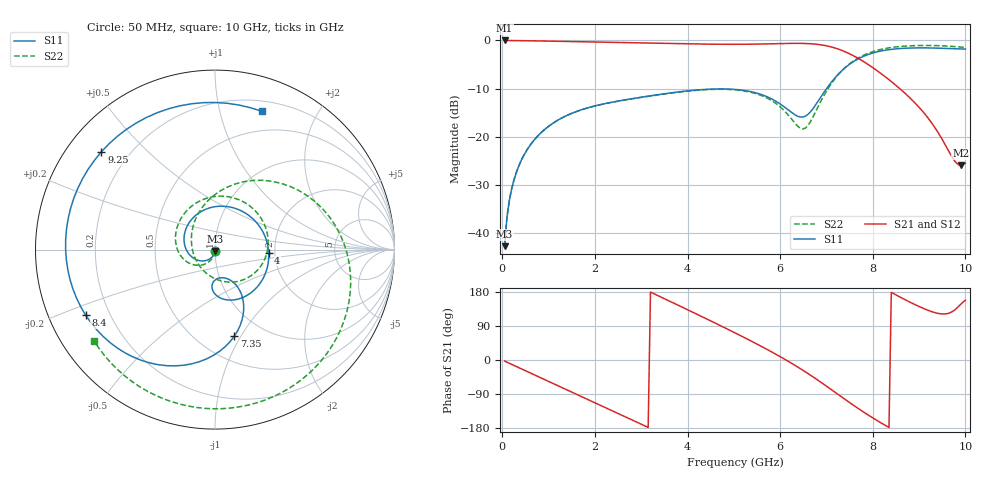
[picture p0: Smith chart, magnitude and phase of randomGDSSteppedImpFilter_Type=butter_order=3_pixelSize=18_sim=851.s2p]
! freq	dB(S11)	phase(S11)	dB(S12)	phase(S12)
!  dB(S21)	phase(S21)	dB(S22)	phase(S22)
!S-par simulation data
#  GHz  S  DB  R 50
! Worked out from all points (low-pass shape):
!   200 points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, 50 MHz to 10 GHz, reference 50 ohm
!   highest |S21| = 0.00 dB at 50 MHz (marker M1); lowest = -25.9 dB at 9.9 GHz (marker M2)
!   |S21| within 3 dB of the highest: start of sweep to 7.548 GHz
!   lowest |S11| = -42.7 dB at 50 MHz (marker M3), VSWR 1.01, Z = 50 - j0.729 ohm
!   |S11| at or under -10 dB: start of sweep to 7.002 GHz
!   |S22| runs from -42.7 to -1.0 dB; largest |S21 - S12| = 0
!   S11 on the Smith chart (normalised r, x): 50 MHz: 1.00, -0.01; 4 GHz: 1.85, -0.07; 7.35 GHz: 0.73, -0.94; 8.4 GHz: 0.11, -0.24; 9.25 GHz: 0.10, +0.37; 10 GHz: 0.30, +1.35
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0.05  -42.72 -93.5  -0.00 -2.9  -0.00 -2.9  -42.71 -92.5
0.2  -30.92 -103.8  -0.02 -11.4  -0.02 -11.4  -30.91 -99.9
0.5  -23.26 -124.1  -0.06 -28.3  -0.06 -28.3  -23.25 -114.0
1.15  -16.84 -168.1  -0.17 -64.9  -0.17 -64.9  -16.83 -143.6
1.75  -14.27 150.2  -0.28 -98.6  -0.28 -98.6  -14.27 -169.4
2.65  -12.34 86.0  -0.44 -149.4  -0.44 -149.4  -12.36 153.4
3.4  -11.21 34.2  -0.58 167.6  -0.58 167.6  -11.26 119.6
4  -10.47 -3.2  -0.70 132.7  -0.70 132.7  -10.54 87.9
4.55  -10.09 -33.8  -0.78 100.3  -0.78 100.3  -10.16 54.4
5.05  -10.19 -58.8  -0.80 70.1  -0.80 70.1  -10.28 20.3
6  -13.18 -94.0  -0.65 8.9  -0.65 8.9  -13.79 -62.3
6.45  -15.92 -81.3  -0.61 -23.9  -0.61 -23.9  -18.30 -144.7
6.7  -14.27 -62.8  -0.71 -43.7  -0.71 -43.7  -16.05 145.6
7.05  -9.37 -62.1  -1.22 -73.3  -1.22 -73.3  -9.76 85.7
7.35  -6.11 -77.5  -2.13 -99.5  -2.13 -99.5  -6.12 50.4
7.85  -3.10 -112.5  -4.68 -141.2  -4.68 -141.2  -2.86 2.6
8.35  -1.91 -149.5  -8.15 -178.1  -8.15 -178.1  -1.54 -36.0
8.4  -1.85 -153.2  -8.53 178.5  -8.53 178.5  -1.47 -39.5
8.85  -1.56 172.2  -12.38 149.8  -12.38 149.8  -1.09 -68.9
9.25  -1.56 139.3  -16.83 128.6  -16.83 128.6  -1.05 -93.5
9.9  -1.76 80.5  -25.93 147.1  -25.93 147.1  -1.38 -135.8
10  -1.80 71.2  -25.46 157.8  -25.46 157.8  -1.47 -143.1
